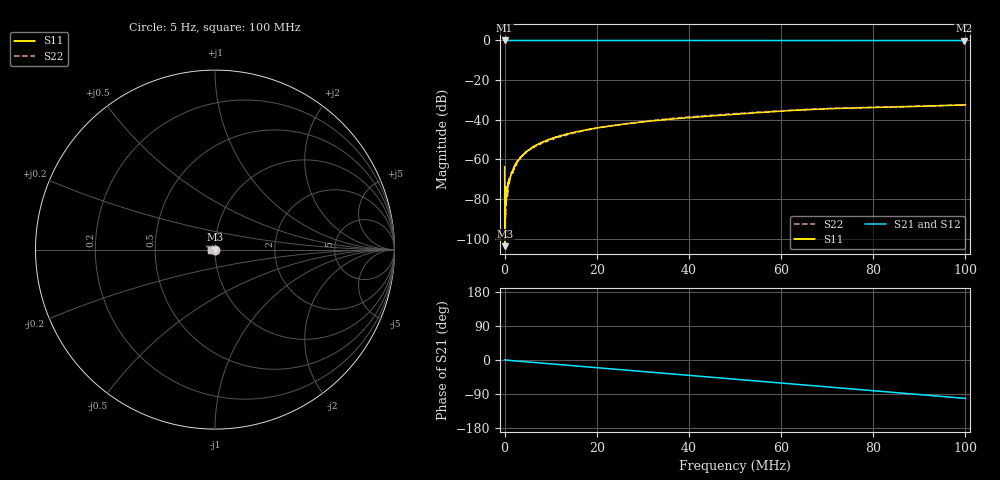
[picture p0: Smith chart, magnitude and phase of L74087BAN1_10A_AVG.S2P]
!Agilent Technologies,E5061B,MY49102235,A.02.00
!Date: Mon Jul 10 15:54:10 2023
!Data & Calibration Information:
!Freq	S11:SOLT2(ON)	S21:SOLT2(ON)	S12:SOLT2(ON)	S22:SOLT2(ON)
# Hz S RI R 50
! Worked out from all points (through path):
!   1600 points, 5 Hz to 100 MHz, reference 50 ohm
!   highest |S21| = 0.02 dB at 5 Hz (marker M1); lowest = 0.0 dB at 99.62 MHz (marker M2)
!   group delay of S21, straight-line fit = 2.82 ns
!   lowest |S11| = -103.8 dB at 125.1 kHz (marker M3), VSWR 1.00, Z = 50 - j9.93e-05 ohm
!   |S11| at or under -10 dB: start of sweep to end of sweep
!   |S22| runs from -89.2 to -32.5 dB; largest |S21 - S12| = 0.0027
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5  -0.000468 0.000438  1.002 0.00234  1.001 -5.72e-05  -0.000118 -4.38e-05
125083.2  -6.37e-06 -9.93e-07  1 -0.00232  1 -0.00228  -3.16e-05 -1.39e-05
250161.3  6.97e-05 8.39e-06  0.9997 -0.00448  0.9999 -0.00447  3.5e-05 -1.85e-06
562856.8  0.000157 -7.76e-05  0.9996 -0.01  0.9997 -0.00973  7.98e-05 -0.000116
750474  -0.000108 -0.000232  0.9996 -0.0133  0.9995 -0.0125  -0.000125 -0.000223
938091.3  -0.00017 -0.000269  0.9994 -0.0165  0.9994 -0.0159  -0.000145 -0.000273
1250787  -8.05e-05 -0.00035  0.9995 -0.0223  0.9993 -0.0218  -3.26e-05 -0.000325
1813638  -9.11e-05 -0.000514  0.9998 -0.0318  0.9991 -0.0319  -5.96e-05 -0.000525
2626647  -5.85e-05 -0.000803  0.9984 -0.0465  0.9991 -0.0459  -5.62e-06 -0.000815
4002506  8.68e-06 -0.00129  0.9973 -0.0706  0.9974 -0.0705  -6.59e-05 -0.00128
5003132  -3.22e-05 -0.00165  0.9959 -0.0884  0.9958 -0.0882  -0.000205 -0.00165
6378992  -0.000129 -0.00215  0.9936 -0.1125  0.9935 -0.1122  -0.000183 -0.002
9318328  -0.000312 -0.00306  0.9862 -0.164  0.9864 -0.1639  -0.000392 -0.00291
1.282052e7  -0.000628 -0.0041  0.9742 -0.2246  0.9743 -0.2247  -0.000622 -0.0039
1.669794e7  -0.00113 -0.00514  0.9565 -0.2906  0.9566 -0.2907  -0.00109 -0.00502
2.445279e7  -0.00254 -0.00686  0.908 -0.4186  0.9077 -0.4188  -0.00257 -0.007
3.333334e7  -0.00465 -0.00845  0.8309 -0.5554  0.831 -0.5553  -0.00463 -0.0088
5.003127e7  -0.00946 -0.00998  0.633 -0.7727  0.633 -0.7728  -0.0101 -0.01
6.672921e7  -0.0157 -0.00918  0.3802 -0.9228  0.3801 -0.9226  -0.0161 -0.009
8.33646e7  -0.02 -0.00573  0.0955 -0.9923  0.0955 -0.9921  -0.0203 -0.00527
9.962477e7  -0.0236 -3.2e-05  -0.1901 -0.977  -0.1903 -0.9771  -0.0235 0.000397
1e8  -0.0237 7.4e-05  -0.1966 -0.9758  -0.1967 -0.9758  -0.0237 0.000477
